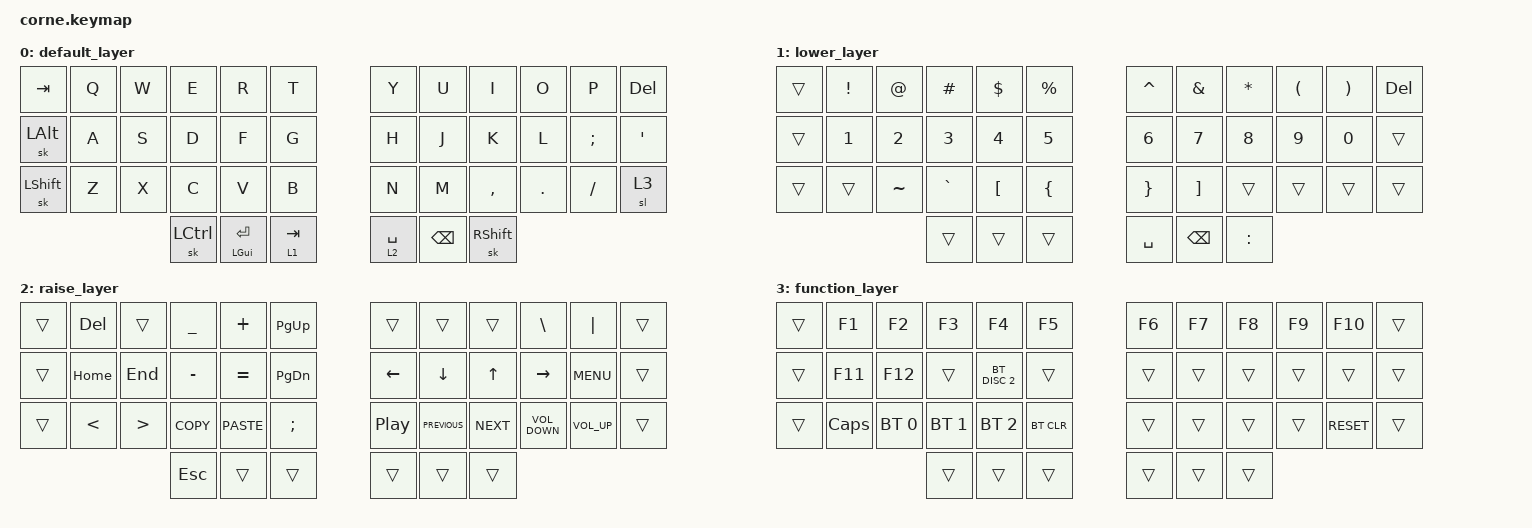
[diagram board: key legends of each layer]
/*
 * Copyright (c) 2020 The ZMK Contributors
 *
 * SPDX-License-Identifier: MIT
 */

#include <behaviors.dtsi>
#include <dt-bindings/zmk/bt.h>
#include <dt-bindings/zmk/keys.h>

/ {
    combos {
        compatible = "zmk,combos";

        Escape {
            bindings = <&kp ESCAPE>;
            key-positions = <19 20>;
            layers = <0>;
        };
    };

    keymap {
        compatible = "zmk,keymap";

        default_layer {
            // -----------------------------------------------------------------------------------------
            // |  TAB |  Q  |  W  |  E  |  R  |  T  |   |  Y  |  U   |  I  |  O  |  P  | BSPC |
            // | CTRL |  A  |  S  |  D  |  F  |  G  |   |  H  |  J   |  K  |  L  |  ;  |  '   |
            // | SHFT |  Z  |  X  |  C  |  V  |  B  |   |  N  |  M   |  ,  |  .  |  /  | ESC  |
            //                    | GUI | LWR | SPC |   | ENT | RSE  | ALT |

            bindings = <
&kp TAB         &kp Q  &kp W  &kp E             &kp R               &kp T        &kp Y        &kp U          &kp I            &kp O    &kp P     &kp DELETE
&sk LEFT_ALT    &kp A  &kp S  &kp D             &kp F               &kp G        &kp H        &kp J          &kp K            &kp L    &kp SEMI  &kp SQT
&sk LEFT_SHIFT  &kp Z  &kp X  &kp C             &kp V               &kp B        &kp N        &kp M          &kp COMMA        &kp DOT  &kp FSLH  &sl 3
                              &sk LEFT_CONTROL  &mt LEFT_GUI ENTER  &lt 1 TAB    &lt 2 SPACE  &kp BACKSPACE  &sk RIGHT_SHIFT
            >;
        };

        lower_layer {
            // -----------------------------------------------------------------------------------------
            // |  TAB |  1  |  2  |  3  |  4  |  5  |   |  6  |  7  |  8  |  9  |  0  | BSPC |
            // | BTCLR| BT1 | BT2 | BT3 | BT4 | BT5 |   | LFT | DWN |  UP | RGT |     |      |
            // | SHFT |     |     |     |     |     |   |     |     |     |     |     |      |
            //                    | GUI |     | SPC |   | ENT |     | ALT |

            bindings = <
&trans  &kp EXCLAMATION  &kp AT_SIGN   &kp POUND     &kp DOLLAR        &kp PERCENT       &kp CARET        &kp AMPERSAND      &kp ASTERISK  &kp LEFT_PARENTHESIS  &kp RIGHT_PARENTHESIS  &kp DELETE
&trans  &kp NUMBER_1     &kp NUMBER_2  &kp NUMBER_3  &kp NUMBER_4      &kp N5            &kp NUMBER_6     &kp NUMBER_7       &kp NUMBER_8  &kp NUMBER_9          &kp NUMBER_0           &trans
&trans  &trans           &kp TILDE     &kp GRAVE     &kp LEFT_BRACKET  &kp LEFT_BRACE    &kp RIGHT_BRACE  &kp RIGHT_BRACKET  &trans        &trans                &trans                 &trans
                                       &trans        &trans            &trans            &kp SPACE        &kp BACKSPACE      &kp COLON
            >;
        };

        raise_layer {
            // -----------------------------------------------------------------------------------------
            // |  TAB |  !  |  @  |  #  |  $  |  %  |   |  ^  |  &  |  *  |  (  |  )  | BSPC |
            // | CTRL |     |     |     |     |     |   |  -  |  =  |  [  |  ]  |  \  |  `   |
            // | SHFT |     |     |     |     |     |   |  _  |  +  |  {  |  }  | "|" |  ~   |
            //                    | GUI |     | SPC |   | ENT |     | ALT |

            bindings = <
&trans  &kp DELETE     &trans            &kp UNDERSCORE  &kp PLUS     &kp PAGE_UP      &trans            &trans          &trans        &kp BACKSLASH      &kp PIPE         &trans
&trans  &kp HOME       &kp END           &kp MINUS       &kp EQUAL    &kp PAGE_DOWN    &kp LEFT_ARROW    &kp DOWN_ARROW  &kp UP_ARROW  &kp RIGHT_ARROW    &kp K_MENU       &trans
&trans  &kp LESS_THAN  &kp GREATER_THAN  &kp K_COPY      &kp K_PASTE  &kp SEMICOLON    &kp C_PLAY_PAUSE  &kp C_PREVIOUS  &kp C_NEXT    &kp C_VOLUME_DOWN  &kp C_VOLUME_UP  &trans
                                         &kp ESCAPE      &trans       &trans           &trans            &trans          &trans
            >;
        };

        function_layer {
            bindings = <
&trans  &kp F1    &kp F2        &kp F3        &kp F4         &kp F5        &kp F6  &kp F7  &kp F8  &kp F9  &kp F10      &trans
&trans  &kp F11   &kp F12       &trans        &bt BT_DISC 2  &trans        &trans  &trans  &trans  &trans  &trans       &trans
&trans  &kp CAPS  &bt BT_SEL 0  &bt BT_SEL 1  &bt BT_SEL 2   &bt BT_CLR    &trans  &trans  &trans  &trans  &kp C_RESET  &trans
                                &trans        &trans         &trans        &trans  &trans  &trans
            >;
        };
    };
};
